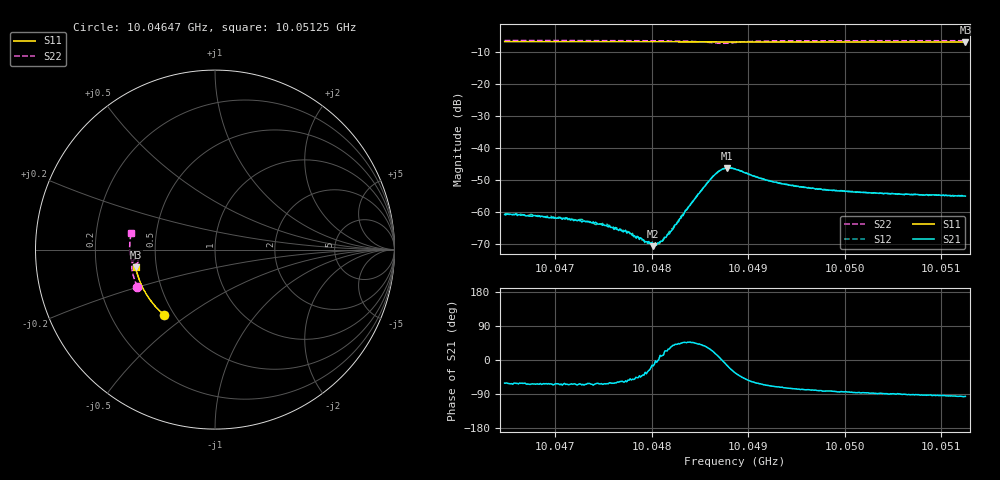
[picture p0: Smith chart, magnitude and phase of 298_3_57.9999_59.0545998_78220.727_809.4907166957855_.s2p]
#  HZ  S  RI  R  50.00
! Rohde & Schwarz Vector Network Analyzer
! Rohde-Schwarz,ZNB20-2Port,1311601062101988,3.16
! Created: UTC 3/21/2024, 1:03:41 AM
! freq[Hz]  re:S11  im:S11  re:S21  im:S21  re:S12  im:S12  re:S22  im:S22
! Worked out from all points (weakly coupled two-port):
!   401 points, 10.04647 GHz to 10.05125 GHz, reference 50 ohm
!   highest |S21| = -46.17 dB at 10.04878 GHz (marker M1); lowest = -70.6 dB at 10.04801 GHz (marker M2)
!   lowest |S11| = -6.9 dB at 10.05125 GHz (marker M3), VSWR 2.65, Z = 19 - j4.68 ohm
!   |S11| at or under -10 dB: nowhere
!   |S22| runs from -7.3 to -6.4 dB; largest |S21 - S12| = 0.00034
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1.0046475e10  -0.2845 -0.3629  0.000446 -0.000808  0.000523 -0.000796  -0.4331 -0.2065
1.0046809e10  -0.3012 -0.3482  0.000398 -0.000778  0.000445 -0.000763  -0.4416 -0.1859
1.0047275e10  -0.323 -0.3266  0.000293 -0.000646  0.000379 -0.00068  -0.4521 -0.1557
1.0047418e10  -0.3295 -0.3197  0.00032 -0.000623  0.000329 -0.000555  -0.4549 -0.1463
1.0047537e10  -0.3349 -0.3138  0.000285 -0.000541  0.000332 -0.000561  -0.4569 -0.1383
1.004774e10  -0.3435 -0.3037  0.000256 -0.000402  0.000318 -0.000381  -0.4601 -0.1238
1.0047836e10  -0.3475 -0.2987  0.000279 -0.000286  0.000244 -0.000298  -0.4614 -0.1168
1.0047895e10  -0.3499 -0.2956  0.000287 -0.000258  0.00029 -0.000234  -0.4621 -0.1124
1.0047943e10  -0.3519 -0.2931  0.000283 -0.000208  0.000283 -0.000151  -0.4627 -0.1088
1.0048015e10  -0.3547 -0.2893  0.000286 -7.93e-05  0.000319 -6.32e-05  -0.4632 -0.1032
1.0048074e10  -0.3572 -0.2862  0.000335 1.49e-05  0.000316 4.24e-05  -0.4637 -0.0985
1.0048206e10  -0.3623 -0.2793  0.000423 0.000304  0.000444 0.000335  -0.4638 -0.0873
1.0048242e10  -0.3639 -0.2775  0.000481 0.000427  0.000437 0.000432  -0.4635 -0.0842
1.0048361e10  -0.3682 -0.2709  0.00076 0.00078  0.000714 0.00085  -0.4618 -0.073
1.0048624e10  -0.3775 -0.2563  0.00318 0.00146  0.00309 0.00167  -0.4397 -0.0534
1.0048707e10  -0.3804 -0.2519  0.00447 0.000402  0.00447 0.000668  -0.4291 -0.06
1.0048779e10  -0.3827 -0.248  0.00477 -0.00119  0.00488 -0.000937  -0.4291 -0.0713
1.0048862e10  -0.3856 -0.2435  0.00395 -0.00263  0.00414 -0.00237  -0.4395 -0.0784
1.0049232e10  -0.3979 -0.2223  0.00112 -0.00285  0.00129 -0.0028  -0.4687 -0.0525
1.0049662e10  -0.4103 -0.1968  0.000454 -0.00234  0.000571 -0.00231  -0.4748 -0.0184
1.0050462e10  -0.429 -0.1479  -9.63e-06 -0.00196  0.000145 -0.00196  -0.4743 0.0377
1.005125e10  -0.4419 -0.0978  -0.000191 -0.00178  -0.000117 -0.00181  -0.4667 0.0901
